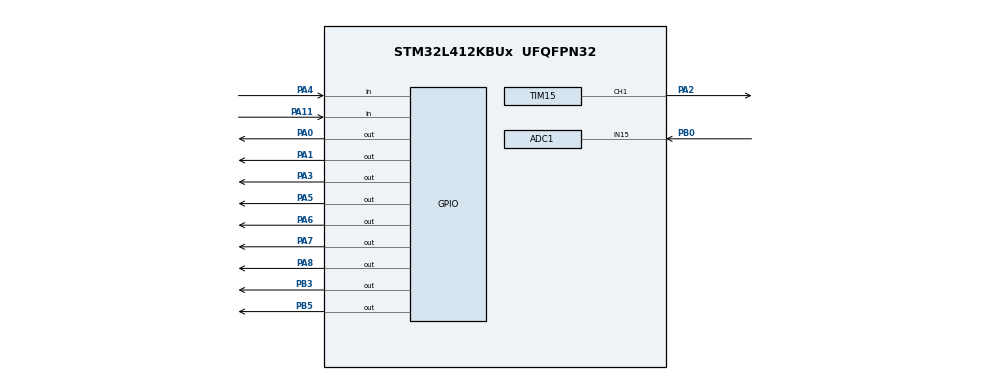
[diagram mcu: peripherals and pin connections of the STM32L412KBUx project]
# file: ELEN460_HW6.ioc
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ADC1.Channel-6\#ChannelRegularConversion=ADC_CHANNEL_15
ADC1.NbrOfConversionFlag=1
ADC1.OffsetNumber-6\#ChannelRegularConversion=ADC_OFFSET_NONE
ADC1.Rank-6\#ChannelRegularConversion=1
ADC1.SamplingTime-6\#ChannelRegularConversion=ADC_SAMPLETIME_2CYCLES_5
ADC1.master=1
Mcu.Family=STM32L4
Mcu.Name=STM32L412KBUx
Mcu.Package=UFQFPN32
NVIC.ADC1_2_IRQn=true\:0\:0\:false\:false\:true\:true\:true
NVIC.PriorityGroup=NVIC_PRIORITYGROUP_4
NVIC.TIM1_BRK_TIM15_IRQn=true\:0\:0\:false\:false\:true\:true\:true
PA0-CK_IN.GPIO_PuPd=GPIO_PULLDOWN
PA0-CK_IN.Signal=GPIO_Output
PA1.GPIO_PuPd=GPIO_PULLDOWN
PA1.Signal=GPIO_Output
PA11.Signal=GPIO_Input
PA2.Signal=S_TIM15_CH1
PA3.Signal=GPIO_Output
PA4.Signal=GPIO_Input
PA5.GPIO_PuPd=GPIO_PULLDOWN
PA5.Signal=GPIO_Output
PA6.GPIO_PuPd=GPIO_PULLDOWN
PA6.Signal=GPIO_Output
PA7.GPIO_PuPd=GPIO_PULLDOWN
PA7.Signal=GPIO_Output
PA8.GPIO_PuPd=GPIO_PULLDOWN
PA8.Signal=GPIO_Output
PB0.Signal=ADCx_IN15
PB3\ (JTDO/TRACESWO).GPIO_PuPd=GPIO_PULLDOWN
PB3\ (JTDO/TRACESWO).Signal=GPIO_Output
PB5.Signal=GPIO_Output
ProjectManager.HeapSize=0x200
ProjectManager.StackSize=0x400
ProjectManager.TargetToolchain=EWARM V8.32
RCC.ADCFreq_Value=4000000
RCC.HSE_VALUE=8000000
RCC.HSI48_VALUE=48000000
RCC.HSI_VALUE=16000000
RCC.LSE_VALUE=32768
RCC.MSI_VALUE=4000000
RCC.USBFreq_Value=4000000
RCC.VCOOutputFreq_Value=32000000
SH.ADCx_IN15.0=ADC1_IN15,IN15-Single-Ended
SH.S_TIM15_CH1.0=TIM15_CH1,PWM Generation1 CH1
TIM15.Channel-PWM\ Generation1\ CH1=TIM_CHANNEL_1
board=custom

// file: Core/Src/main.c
/* USER CODE BEGIN Header */
/**
  ******************************************************************************
  * @file           : main.c
  * @brief          : Main program body
  ******************************************************************************
  * @attention
  *
  * <h2><center>&copy; Copyright (c) 2021 STMicroelectronics.
  * All rights reserved.</center></h2>
  *
  * This software component is licensed by ST under BSD 3-Clause license,
  * the "License"; You may not use this file except in compliance with the
  * License. You may obtain a copy of the License at:
  *                        opensource.org/licenses/BSD-3-Clause
  *
  ******************************************************************************
  */
/* USER CODE END Header */
#include "main.h"

/* USER CODE BEGIN PD */
#define LED_OFF                 0
#define LED_SLOW                1
#define LED_FAST                2
#define LED_FIRST_ON            1
#define LED_SECOND_ON           2
#define LED_1_PIN               GPIOB, GPIO_PIN_5
#define LED_2_PIN               GPIOA, GPIO_PIN_3
#define SW_1_PIN                GPIOA, GPIO_PIN_11
#define SW_2_PIN                GPIOA, GPIO_PIN_4
#define SW_3_PIN                GPIOB, GPIO_PIN_7
#define BCD_A_PIN               GPIOB, GPIO_PIN_3
#define BCD_B_PIN               GPIOA, GPIO_PIN_5
#define BCD_C_PIN               GPIOA, GPIO_PIN_1
#define BCD_D_PIN               GPIOA, GPIO_PIN_0
#define SEG_DOT_PIN             GPIOA, GPIO_PIN_8
#define DISPLAY_1_EN_PIN        GPIOA, GPIO_PIN_6
#define DISPLAY_2_EN_PIN        GPIOA, GPIO_PIN_7
#define DISPLAY_1_ON            1
#define DISPLAY_2_ON            2

/* USER CODE END PD */

ADC_HandleTypeDef hadc1;

TIM_HandleTypeDef htim15;

/* USER CODE BEGIN PV */

// LED Sequencing
uint8_t sw;
uint8_t currentLED = LED_FIRST_ON;
uint8_t ledState = LED_OFF;

extern uint8_t counter_10mS_Flag;
extern uint8_t counter_16mS_Flag;
extern uint8_t counter_250mS_Flag;
extern uint8_t counter_1S_Flag;
extern uint8_t counter_2_5S_Flag;

// Variable LED
uint16_t adcValue;
uint16_t ledDuty;

// 7-Segment Display
uint8_t displayState = DISPLAY_1_ON;
float voltage = 0;
uint8_t firstDigit = 0;
uint8_t secondDigit = 0;
uint8_t segDisplayEnable = 1;

/* USER CODE END PV */

void SystemClock_Config(void);
static void MX_GPIO_Init(void);
static void MX_ADC1_Init(void);
static void MX_TIM15_Init(void);
/* USER CODE BEGIN PFP */
void Set_LED_Duty(uint16_t duty);
void Toggle_LED(void);
void Update_Display(uint8_t digit);
/* USER CODE END PFP */

int main(void)
{

  /* MCU Configuration--------------------------------------------------------*/

  /* Reset of all peripherals, Initializes the Flash interface and the Systick. */
  HAL_Init();

  /* Configure the system clock */
  SystemClock_Config();

  /* Initialize all configured peripherals */
  MX_GPIO_Init();
  MX_ADC1_Init();
  MX_TIM15_Init();
  /* USER CODE BEGIN 2 */

  HAL_TIM_PWM_Start(&htim15, TIM_CHANNEL_1);
  /* USER CODE END 2 */

  /* Infinite loop */
  /* USER CODE BEGIN WHILE */
  while (1)
  {

    // 10ms scheduler
    if(counter_10mS_Flag == true) {
      ledDuty = adcValue << 4;
      Set_LED_Duty(ledDuty);
      sw = (HAL_GPIO_ReadPin(SW_1_PIN) << 1) | (HAL_GPIO_ReadPin(SW_2_PIN) << 0);

      segDisplayEnable = HAL_GPIO_ReadPin(SW_3_PIN);

      switch(sw){
      case 0:
        ledState = LED_OFF;
        break;
      case 1:
        ledState = LED_OFF;
        break;
      case 2:
        ledState = LED_SLOW;
        break;
      case 3:
        ledState = LED_FAST;
        break;
      default:
        ledState = LED_OFF;
        break;
      }

      HAL_ADC_Start_IT(&hadc1);
    }

    // 16ms scheduler
    if(counter_16mS_Flag == true) {
      counter_16mS_Flag = false;

      //if(segDisplayEnable == 0) {
        switch(displayState) {
        case DISPLAY_1_ON:
          HAL_GPIO_WritePin(DISPLAY_2_EN_PIN,GPIO_PIN_SET);
          Update_Display(firstDigit);
          HAL_GPIO_WritePin(DISPLAY_1_EN_PIN,GPIO_PIN_RESET);
          HAL_GPIO_WritePin(SEG_DOT_PIN,GPIO_PIN_SET);
          displayState = DISPLAY_2_ON;
          break;
        case DISPLAY_2_ON:
          HAL_GPIO_WritePin(DISPLAY_1_EN_PIN,GPIO_PIN_SET);
          HAL_GPIO_WritePin(SEG_DOT_PIN,GPIO_PIN_RESET);
          Update_Display(secondDigit);
          HAL_GPIO_WritePin(DISPLAY_2_EN_PIN,GPIO_PIN_RESET);
          displayState = DISPLAY_1_ON;
          break;
        }
      //}
//      else {
//        HAL_GPIO_WritePin(DISPLAY_1_EN_PIN,GPIO_PIN_SET);
//        HAL_GPIO_WritePin(DISPLAY_2_EN_PIN,GPIO_PIN_SET);
//        HAL_GPIO_WritePin(SEG_DOT_PIN,GPIO_PIN_RESET);
//      }
    }

    // 250ms scheduler
    if(counter_250mS_Flag == true) {
      counter_250mS_Flag = false;

      voltage = 3.3 * (adcValue/4095.0);
      firstDigit = (uint8_t) voltage;
      voltage *= 10;
      secondDigit = (uint8_t) voltage % 10;
    }

    // 1 sec scheduler
    if(counter_1S_Flag == true) {
      counter_1S_Flag = false;
      if(ledState == LED_FAST){
        Toggle_LED();
      }
    }

    // 2.5 sec scheduler
    if(counter_2_5S_Flag == true) {
      counter_2_5S_Flag = false;
      if(ledState == LED_SLOW){
        Toggle_LED();
      }
    }

    if(ledState == LED_OFF) {
      HAL_GPIO_WritePin(LED_1_PIN,GPIO_PIN_RESET);
      HAL_GPIO_WritePin(LED_2_PIN,GPIO_PIN_RESET);
    }

    /* USER CODE END WHILE */

  }
}

void SystemClock_Config(void)
{
  RCC_OscInitTypeDef RCC_OscInitStruct = {0};
  RCC_ClkInitTypeDef RCC_ClkInitStruct = {0};

  /** Configure the main internal regulator output voltage
  */
  if (HAL_PWREx_ControlVoltageScaling(PWR_REGULATOR_VOLTAGE_SCALE1) != HAL_OK)
  {
    Error_Handler();
  }
  /** Initializes the RCC Oscillators according to the specified parameters
  * in the RCC_OscInitTypeDef structure.
  */
  RCC_OscInitStruct.OscillatorType = RCC_OSCILLATORTYPE_MSI;
  RCC_OscInitStruct.MSIState = RCC_MSI_ON;
  RCC_OscInitStruct.MSICalibrationValue = 0;
  RCC_OscInitStruct.MSIClockRange = RCC_MSIRANGE_6;
  RCC_OscInitStruct.PLL.PLLState = RCC_PLL_NONE;
  if (HAL_RCC_OscConfig(&RCC_OscInitStruct) != HAL_OK)
  {
    Error_Handler();
  }
  /** Initializes the CPU, AHB and APB buses clocks
  */
  RCC_ClkInitStruct.ClockType = RCC_CLOCKTYPE_HCLK|RCC_CLOCKTYPE_SYSCLK
                              |RCC_CLOCKTYPE_PCLK1|RCC_CLOCKTYPE_PCLK2;
  RCC_ClkInitStruct.SYSCLKSource = RCC_SYSCLKSOURCE_MSI;
  RCC_ClkInitStruct.AHBCLKDivider = RCC_SYSCLK_DIV1;
  RCC_ClkInitStruct.APB1CLKDivider = RCC_HCLK_DIV1;
  RCC_ClkInitStruct.APB2CLKDivider = RCC_HCLK_DIV1;

  if (HAL_RCC_ClockConfig(&RCC_ClkInitStruct, FLASH_LATENCY_0) != HAL_OK)
  {
    Error_Handler();
  }
}

static void MX_ADC1_Init(void)
{

  ADC_MultiModeTypeDef multimode = {0};
  ADC_ChannelConfTypeDef sConfig = {0};

  /** Common config
  */
  hadc1.Instance = ADC1;
  hadc1.Init.ClockPrescaler = ADC_CLOCK_ASYNC_DIV1;
  hadc1.Init.Resolution = ADC_RESOLUTION_12B;
  hadc1.Init.DataAlign = ADC_DATAALIGN_RIGHT;
  hadc1.Init.ScanConvMode = ADC_SCAN_DISABLE;
  hadc1.Init.EOCSelection = ADC_EOC_SINGLE_CONV;
  hadc1.Init.LowPowerAutoWait = DISABLE;
  hadc1.Init.ContinuousConvMode = DISABLE;
  hadc1.Init.NbrOfConversion = 1;
  hadc1.Init.DiscontinuousConvMode = DISABLE;
  hadc1.Init.ExternalTrigConv = ADC_SOFTWARE_START;
  hadc1.Init.ExternalTrigConvEdge = ADC_EXTERNALTRIGCONVEDGE_NONE;
  hadc1.Init.DMAContinuousRequests = DISABLE;
  hadc1.Init.Overrun = ADC_OVR_DATA_PRESERVED;
  hadc1.Init.OversamplingMode = DISABLE;
  if (HAL_ADC_Init(&hadc1) != HAL_OK)
  {
    Error_Handler();
  }
  /** Configure the ADC multi-mode
  */
  multimode.Mode = ADC_MODE_INDEPENDENT;
  if (HAL_ADCEx_MultiModeConfigChannel(&hadc1, &multimode) != HAL_OK)
  {
    Error_Handler();
  }
  /** Configure Regular Channel
  */
  sConfig.Channel = ADC_CHANNEL_15;
  sConfig.Rank = ADC_REGULAR_RANK_1;
  sConfig.SamplingTime = ADC_SAMPLETIME_2CYCLES_5;
  sConfig.SingleDiff = ADC_SINGLE_ENDED;
  sConfig.OffsetNumber = ADC_OFFSET_NONE;
  sConfig.Offset = 0;
  if (HAL_ADC_ConfigChannel(&hadc1, &sConfig) != HAL_OK)
  {
    Error_Handler();
  }

}

static void MX_TIM15_Init(void)
{

  TIM_MasterConfigTypeDef sMasterConfig = {0};
  TIM_OC_InitTypeDef sConfigOC = {0};
  TIM_BreakDeadTimeConfigTypeDef sBreakDeadTimeConfig = {0};

  htim15.Instance = TIM15;
  htim15.Init.Prescaler = 0;
  htim15.Init.CounterMode = TIM_COUNTERMODE_UP;
  htim15.Init.Period = 65535;
  htim15.Init.ClockDivision = TIM_CLOCKDIVISION_DIV1;
  htim15.Init.RepetitionCounter = 0;
  htim15.Init.AutoReloadPreload = TIM_AUTORELOAD_PRELOAD_DISABLE;
  if (HAL_TIM_PWM_Init(&htim15) != HAL_OK)
  {
    Error_Handler();
  }
  sMasterConfig.MasterOutputTrigger = TIM_TRGO_RESET;
  sMasterConfig.MasterSlaveMode = TIM_MASTERSLAVEMODE_DISABLE;
  if (HAL_TIMEx_MasterConfigSynchronization(&htim15, &sMasterConfig) != HAL_OK)
  {
    Error_Handler();
  }
  sConfigOC.OCMode = TIM_OCMODE_PWM1;
  sConfigOC.Pulse = 0;
  sConfigOC.OCPolarity = TIM_OCPOLARITY_HIGH;
  sConfigOC.OCNPolarity = TIM_OCNPOLARITY_HIGH;
  sConfigOC.OCFastMode = TIM_OCFAST_DISABLE;
  sConfigOC.OCIdleState = TIM_OCIDLESTATE_RESET;
  sConfigOC.OCNIdleState = TIM_OCNIDLESTATE_RESET;
  if (HAL_TIM_PWM_ConfigChannel(&htim15, &sConfigOC, TIM_CHANNEL_1) != HAL_OK)
  {
    Error_Handler();
  }
  sBreakDeadTimeConfig.OffStateRunMode = TIM_OSSR_DISABLE;
  sBreakDeadTimeConfig.OffStateIDLEMode = TIM_OSSI_DISABLE;
  sBreakDeadTimeConfig.LockLevel = TIM_LOCKLEVEL_OFF;
  sBreakDeadTimeConfig.DeadTime = 0;
  sBreakDeadTimeConfig.BreakState = TIM_BREAK_DISABLE;
  sBreakDeadTimeConfig.BreakPolarity = TIM_BREAKPOLARITY_HIGH;
  sBreakDeadTimeConfig.AutomaticOutput = TIM_AUTOMATICOUTPUT_DISABLE;
  if (HAL_TIMEx_ConfigBreakDeadTime(&htim15, &sBreakDeadTimeConfig) != HAL_OK)
  {
    Error_Handler();
  }
  HAL_TIM_MspPostInit(&htim15);

}

static void MX_GPIO_Init(void)
{
  GPIO_InitTypeDef GPIO_InitStruct = {0};

  /* GPIO Ports Clock Enable */
  __HAL_RCC_GPIOA_CLK_ENABLE();
  __HAL_RCC_GPIOB_CLK_ENABLE();

  /*Configure GPIO pin Output Level */
  HAL_GPIO_WritePin(GPIOA, GPIO_PIN_0|GPIO_PIN_1|GPIO_PIN_3|GPIO_PIN_5
                          |GPIO_PIN_6|GPIO_PIN_7|GPIO_PIN_8, GPIO_PIN_RESET);

  /*Configure GPIO pin Output Level */
  HAL_GPIO_WritePin(GPIOB, GPIO_PIN_3|GPIO_PIN_5, GPIO_PIN_RESET);

  /*Configure GPIO pins : PA0 PA1 PA5 PA6
                           PA7 PA8 */
  GPIO_InitStruct.Pin = GPIO_PIN_0|GPIO_PIN_1|GPIO_PIN_5|GPIO_PIN_6
                          |GPIO_PIN_7|GPIO_PIN_8;
  GPIO_InitStruct.Mode = GPIO_MODE_OUTPUT_PP;
  GPIO_InitStruct.Pull = GPIO_PULLDOWN;
  GPIO_InitStruct.Speed = GPIO_SPEED_FREQ_LOW;
  HAL_GPIO_Init(GPIOA, &GPIO_InitStruct);

  /*Configure GPIO pin : PA3 */
  GPIO_InitStruct.Pin = GPIO_PIN_3;
  GPIO_InitStruct.Mode = GPIO_MODE_OUTPUT_PP;
  GPIO_InitStruct.Pull = GPIO_NOPULL;
  GPIO_InitStruct.Speed = GPIO_SPEED_FREQ_LOW;
  HAL_GPIO_Init(GPIOA, &GPIO_InitStruct);

  /*Configure GPIO pins : PA4 PA11 */
  GPIO_InitStruct.Pin = GPIO_PIN_4|GPIO_PIN_11;
  GPIO_InitStruct.Mode = GPIO_MODE_INPUT;
  GPIO_InitStruct.Pull = GPIO_NOPULL;
  HAL_GPIO_Init(GPIOA, &GPIO_InitStruct);

  /*Configure GPIO pin : PB3 */
  GPIO_InitStruct.Pin = GPIO_PIN_3;
  GPIO_InitStruct.Mode = GPIO_MODE_OUTPUT_PP;
  GPIO_InitStruct.Pull = GPIO_PULLDOWN;
  GPIO_InitStruct.Speed = GPIO_SPEED_FREQ_LOW;
  HAL_GPIO_Init(GPIOB, &GPIO_InitStruct);

  /*Configure GPIO pin : PB5 */
  GPIO_InitStruct.Pin = GPIO_PIN_5;
  GPIO_InitStruct.Mode = GPIO_MODE_OUTPUT_PP;
  GPIO_InitStruct.Pull = GPIO_NOPULL;
  GPIO_InitStruct.Speed = GPIO_SPEED_FREQ_LOW;
  HAL_GPIO_Init(GPIOB, &GPIO_InitStruct);

}

/* USER CODE BEGIN 4 */
void Set_LED_Duty(uint16_t duty){
  TIM_OC_InitTypeDef ledConfig = {0};

  ledConfig.OCMode = TIM_OCMODE_PWM1;
  ledConfig.Pulse = duty;
  ledConfig.OCPolarity = TIM_OCPOLARITY_HIGH;
  ledConfig.OCNPolarity = TIM_OCNPOLARITY_HIGH;
  ledConfig.OCFastMode = TIM_OCFAST_DISABLE;
  ledConfig.OCIdleState = TIM_OCIDLESTATE_RESET;
  ledConfig.OCNIdleState = TIM_OCNIDLESTATE_RESET;

  HAL_TIM_PWM_Stop(&htim15, TIM_CHANNEL_1);
  HAL_TIM_PWM_ConfigChannel(&htim15, &ledConfig, TIM_CHANNEL_1);
  HAL_TIM_PWM_Start(&htim15, TIM_CHANNEL_1);
}

void Toggle_LED(void) {
  if(currentLED == LED_FIRST_ON) {
    HAL_GPIO_WritePin(LED_1_PIN,GPIO_PIN_SET);
    HAL_GPIO_WritePin(LED_2_PIN,GPIO_PIN_RESET);
    currentLED = LED_SECOND_ON;
  }
  else if(currentLED == LED_SECOND_ON) {
    HAL_GPIO_WritePin(LED_1_PIN,GPIO_PIN_RESET);
    HAL_GPIO_WritePin(LED_2_PIN,GPIO_PIN_SET);
    currentLED = LED_FIRST_ON;
  }
}

void Update_Display(uint8_t digit) {
  if(digit > 9) {return;}
  digit &= 0xF;

  // Get first bit and set BCD A pin
  if((digit >> 0) & 0x1){HAL_GPIO_WritePin(BCD_A_PIN, GPIO_PIN_SET);}
  else {HAL_GPIO_WritePin(BCD_A_PIN, GPIO_PIN_RESET);}

  // Get second bit and set BCD B pin
  if((digit >> 1) & 0x1){HAL_GPIO_WritePin(BCD_B_PIN, GPIO_PIN_SET);}
  else {HAL_GPIO_WritePin(BCD_B_PIN, GPIO_PIN_RESET);}

  // Get second bit and set BCD B pin
  if((digit >> 2) & 0x1){HAL_GPIO_WritePin(BCD_C_PIN, GPIO_PIN_SET);}
  else {HAL_GPIO_WritePin(BCD_C_PIN, GPIO_PIN_RESET);}

  // Get second bit and set BCD B pin
  if((digit >> 3) & 0x1){HAL_GPIO_WritePin(BCD_D_PIN, GPIO_PIN_SET);}
  else {HAL_GPIO_WritePin(BCD_D_PIN, GPIO_PIN_RESET);}
}
/* USER CODE END 4 */

void Error_Handler(void)
{
  __disable_irq();
  while (1)
  {
  }
}

/************************ (C) COPYRIGHT STMicroelectronics *****END OF FILE****/
